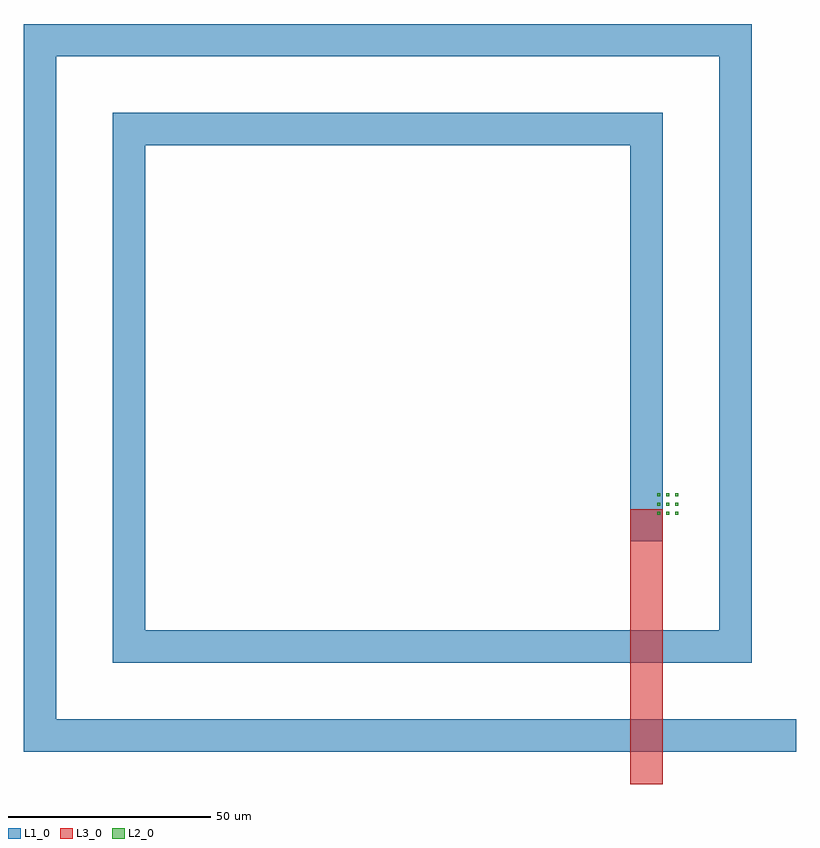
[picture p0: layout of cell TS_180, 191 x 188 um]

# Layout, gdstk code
import gdstk
lib = gdstk.Library(unit=1e-6, precision=1e-09)
def R(c, l, rs):  # rectangles x0, y0, x1, y1
    for r in rs: c.add(gdstk.rectangle(r[:2], r[2:], *l))
def A(c, l, x, y, w, h, nx, ny, dx, dy):  # array of equal rectangles
    R(c, l, [(x+i*dx, y+j*dy, x+i*dx+w, y+j*dy+h) for i in range(nx) for j in range(ny)])
def P(c, l, *ps):  # polygons
    for p in ps: c.add(gdstk.Polygon(p, *l))
L1_0 = (1, 0)
L2_0 = (2, 0)
L3_0 = (3, 0)

ts_180 = lib.new_cell('TS_180')
R(ts_180, L1_0, [(250,160,258,168)])
P(ts_180, L1_0, [(100,108),(108,116),(291,116),(291,108)],
  [(100,108),(100,288),(108,280),(108,116)],
  [(108,280),(100,288),(280,288),(272,280)],
  [(280,130),(272,138),(272,280),(280,288)],
  [(122,130),(130,138),(272,138),(280,130)],
  [(122,130),(122,266),(130,258),(130,138)],
  [(130,258),(122,266),(258,266),(250,258)],
  [(250,160),(250,258),(258,266),(258,160)])
A(ts_180, L2_0, 256.62, 166.62, 0.75, 0.75, 3, 3, 2.25, 2.25)
R(ts_180, L3_0, [(250,100,258,168), (250,160,258,168)])

lib.write_gds('TS_180.gds')
